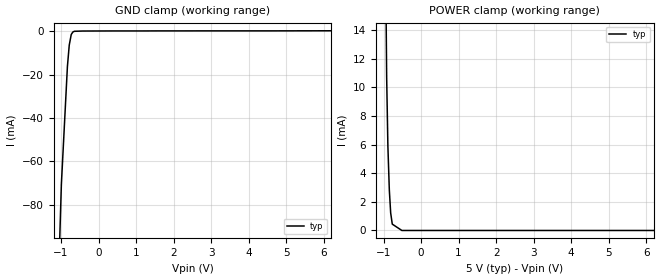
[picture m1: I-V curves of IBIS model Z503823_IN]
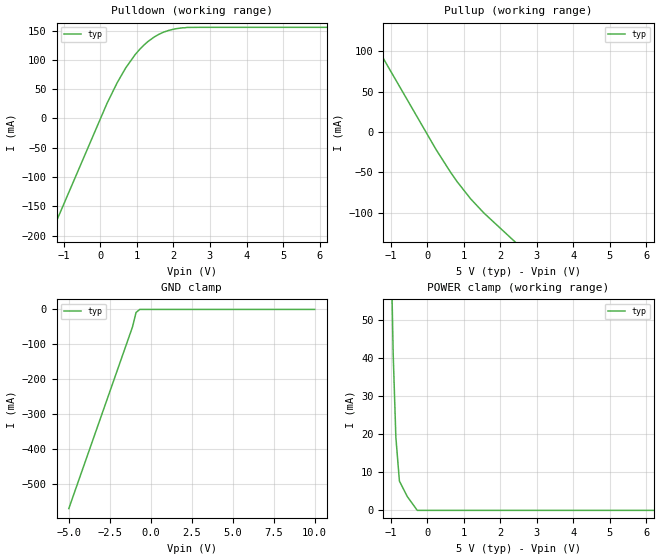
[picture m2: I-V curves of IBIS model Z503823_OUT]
| YOU ARE ONLY AUTHORIZED TO USE THIS SOFTWARE
| ACCORDING TO LICENSOR'S LICENSE RESTRICTIONS.
[IBIS Ver] 3.1
[File Name] mc74act02n.ibs
[File Rev] 2.0
[Source] Measured and created by ICX Technology
[Date] Friday 7/14/00 9:08:01 AM
[Copyright]
| (C) COPYRIGHT 1993-2000
| MENTOR GRAPHICS CORPORATION
| ICX STANDARD LIBRARY, ICX PROJECT MODELING,
| ICX CUSTOM MODELING, ICX VENDOR MODEL
| ALL RIGHTS RESERVED.
| THE FOLLOWING ARE TRADEMARKS OR SERVICE MARKS OF
| MENTOR GRAPHICS CORPORATION:ICX (R), ICX STANDARD
| LIBRARY(R), ICX PROJECT MODELING(R), ICX CUSTOM
| MODELING(R), qualityIBIS(TM), MODELVIEWER(TM),
| AND MODELEDITOR(TM)
| ALL COPIES OF SOFTWARE, INCLUDING BUT NOT LIMITED TO
| ANY MODIFICATIONS, ENHANCEMENTS OR DERIVATIVE WORKS,
| MUST CONTAIN ALL MENTOR GRAPHICS CORPORATION'S
| NOTICES AND LEGENDS, INCLUDING THOSE EMBEDDED IN
| SOFTWARE AND THOSE AFFIXED TO SOFTWARE MEDIUM
| AND CONTAINER, AS RECEIVED FROM MENTOR GRAPHICS
| CORPORATION.
|  ZAP Model Builder 2.7
[Component] MC74ACT02N
[Manufacturer] OnSemiconductor
[Package]
| variable   typ   min   max
R_pkg  .21ohms NA NA
L_pkg  4.543nH NA NA
C_pkg  1.059pF NA NA
[Pin] signal_name  model_name  R_pin  L_pin C_pin
1 Y Z503823_OUT .22 6.757n 1.432p
2 A Z503823_IN .212 4.757n 1.142p
3 B Z503823_IN .204 3.257n .852p
4 Y Z503823_OUT .196 2.257n .562p
5 A Z503823_IN .204 3.257n .852p
6 B Z503823_IN .212 4.757n 1.142p
7 GND GND .22 6.757n 1.432p
8 A Z503823_IN .22 6.757n 1.432p
9 B Z503823_IN .212 4.757n 1.142p
10 Y Z503823_OUT .204 3.257n .852p
11 A Z503823_IN .196 2.257n .562p
12 B Z503823_IN .204 3.257n .852p
13 Y Z503823_OUT .212 4.757n 1.142p
14 VCC POWER .22 6.757n 1.432p
| Models and submodels in the file (2): Z503823_IN (Input), Z503823_OUT (Output)
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| (C) COPYRIGHT 1993-2000
| MENTOR GRAPHICS CORPORATION
| ICX STANDARD LIBRARY, ICX PROJECT MODELING,
| ICX CUSTOM MODELING, ICX VENDOR MODEL
| ALL RIGHTS RESERVED.
| THE FOLLOWING ARE TRADEMARKS OR SERVICE MARKS OF
| MENTOR GRAPHICS CORPORATION:ICX (R), ICX STANDARD
| LIBRARY(R), ICX PROJECT MODELING(R), ICX CUSTOM
| MODELING(R), qualityIBIS(TM), MODELVIEWER(TM),
| AND MODELEDITOR(TM)
| ALL COPIES OF SOFTWARE, INCLUDING BUT NOT LIMITED TO
| ANY MODIFICATIONS, ENHANCEMENTS OR DERIVATIVE WORKS,
| MUST CONTAIN ALL MENTOR GRAPHICS CORPORATION'S
| NOTICES AND LEGENDS, INCLUDING THOSE EMBEDDED IN
| SOFTWARE AND THOSE AFFIXED TO SOFTWARE MEDIUM
| AND CONTAINER, AS RECEIVED FROM MENTOR GRAPHICS
| CORPORATION.
| Model Application Version 1.89 2/18/99.
[Model] Z503823_IN
Model_type Input
Vinl = 800.0mV
Vinh = 2.000V
C_comp 4.000pF NA NA
| variable typ   min   max
[Voltage Range] 5.000V NA NA
[GND Clamp Reference] 0.000V NA NA
[POWER Clamp Reference] 5.000V NA NA
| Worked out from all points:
|   GND clamp passes 1 mA (typ) near -0.71 V on its own axis
|   POWER clamp passes 1 mA (typ) near -0.80 V on its own axis
[GND Clamp]
-5V       -2.378A    NA         NA
-991.2mV  -70.67mA   NA         NA
-830.1mV  -16.3mA    NA         NA
-781.2mV  -6.431mA   NA         NA
-727.9mV  -1.505mA   NA         NA
-684.5mV  -379.6uA   NA         NA
-645.2mV  -44.25uA   NA         NA
10V       296.9uA    NA         NA
[POWER Clamp]
-5V       2.863A     NA         NA
-1.113V   91.35mA    NA         NA
-1.01V    38.44mA    NA         NA
-917mV    10.75mA    NA         NA
-884mV    5.889mA    NA         NA
-846mV    2.852mA    NA         NA
-810mV    1.232mA    NA         NA
-767mV    443.6uA    NA         NA
-511.3mV  0A         NA         NA
10V       0A         NA         NA
| (C) COPYRIGHT 1993-2000
| MENTOR GRAPHICS CORPORATION
| ICX STANDARD LIBRARY, ICX PROJECT MODELING,
| ICX CUSTOM MODELING, ICX VENDOR MODEL
| ALL RIGHTS RESERVED.
| THE FOLLOWING ARE TRADEMARKS OR SERVICE MARKS OF
| MENTOR GRAPHICS CORPORATION:ICX (R), ICX STANDARD
| LIBRARY(R), ICX PROJECT MODELING(R), ICX CUSTOM
| MODELING(R), qualityIBIS(TM), MODELVIEWER(TM),
| AND MODELEDITOR(TM)
| ALL COPIES OF SOFTWARE, INCLUDING BUT NOT LIMITED TO
| ANY MODIFICATIONS, ENHANCEMENTS OR DERIVATIVE WORKS,
| MUST CONTAIN ALL MENTOR GRAPHICS CORPORATION'S
| NOTICES AND LEGENDS, INCLUDING THOSE EMBEDDED IN
| SOFTWARE AND THOSE AFFIXED TO SOFTWARE MEDIUM
| AND CONTAINER, AS RECEIVED FROM MENTOR GRAPHICS
| CORPORATION.
| Model Application Version 1.89 2/18/99.
[Model] Z503823_OUT
Model_type Output
Vref=0.000V
Rref=500.0ohms
Cref=50.00pF
Vmeas=1.500V
C_comp 8.000pF NA NA
| variable typ   min   max
[Voltage Range] 5.000V NA NA
[POWER Clamp Reference] 5.000V NA NA
[Pullup Reference] 5.000V NA NA
[Pulldown Reference] 0.000V NA NA
[GND Clamp Reference] 0.000V NA NA
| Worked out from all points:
|   slope of the pulldown table from 0 to 0.75 V, typ, clamps not added: 8.15 ohm
|   slope of the pullup table from 0 to 0.75 V, typ, clamps not added: 13.8 ohm
|   GND clamp passes 1 mA (typ) near -0.70 V on its own axis
[GND Clamp]
-5V       -569.9mA   NA         NA
-1.114V   -50.29mA   NA         NA
-896.6mV  -8.791mA   NA         NA
-672.5mV  0A         NA         NA
10V       0A         NA         NA
[Pulldown]
-5V       -727.6mA   NA         NA
180.8mV   25.52mA    NA         NA
460.2mV   60.97mA    NA         NA
694.1mV   86.32mA    NA         NA
948.9mV   108.7mA    NA         NA
1.079V    118.2mA    NA         NA
1.304V    131.4mA    NA         NA
1.475V    139.1mA    NA         NA
1.724V    147.2mA    NA         NA
2.017V    152.6mA    NA         NA
2.373V    155.4mA    NA         NA
10V       155.6mA    NA         NA
[Pullup]
-5V       387.9mA    NA         NA
240mV     -21.5mA    NA         NA
630mV     -49.18mA   NA         NA
816mV     -61.3mA    NA         NA
1.191V    -82.82mA   NA         NA
1.553V    -100.3mA   NA         NA
10V       -454.2mA   NA         NA
[POWER Clamp]
-5V       1.996A     NA         NA
-932mV    40.94mA    NA         NA
-859mV    19.22mA    NA         NA
-762mV    7.692mA    NA         NA
-547mV    3.638mA    NA         NA
-273.5mV  0A         NA         NA
10V       0A         NA         NA
[Ramp]
| variable typ min max
dV/dt_r 2.943/439.7p NA NA
dV/dt_f 2.943/735.7p NA NA
R_load = 500.0Ohms
